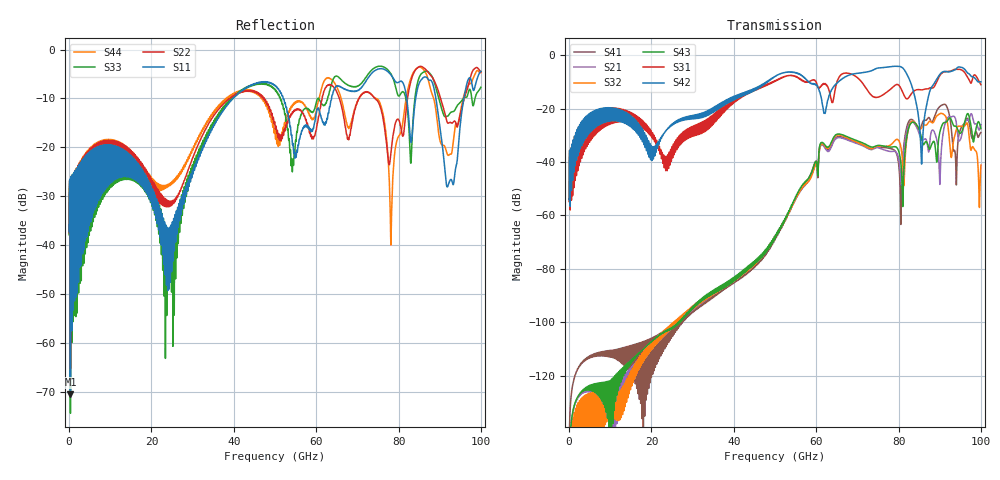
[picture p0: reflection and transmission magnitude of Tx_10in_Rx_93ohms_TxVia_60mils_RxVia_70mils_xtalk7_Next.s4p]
! Info: Touchstone file created by Circ.  Input file=Tx_10in_Rx_93ohms_TxVia_60mils_RxVia_70mils.circ
# Hz S RI R 50
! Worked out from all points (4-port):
!   10000 points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, 10 MHz to 100 GHz, reference 50 ohm
!   strongest paths, dB at 10 MHz, 25.01 GHz, 50.01 GHz, 75.01 GHz, 100 GHz:
!     S42: -54.1, -25.8, -7.9, -4.8, -10.0
!     S31: -54.8, -34.3, -9.6, -15.8, -11.1
!     S43: -154.6, -101.9, -68.7, -33.8, -27.5
!     S32: -170.4, -100.9, -68.5, -34.1, -41.1
!     S21: -167.2, -101.5, -68.3, -34.7, -26.0
!     S41: -150.4, -101.0, -69.2, -34.4, -29.0
!   lowest |S11| = -70.6 dB at 330 MHz (marker M1), VSWR 1.00, Z = 50 - j0.00547 ohm
!   |S11| at or under -10 dB: start of sweep to 39.83 GHz; 51.98 GHz to 63.74 GHz (11.76 GHz wide, 20.3 % of centre); 89.08 GHz to 95.86 GHz (6.789 GHz wide, 7.34 % of centre) (the widest 3 of 4)
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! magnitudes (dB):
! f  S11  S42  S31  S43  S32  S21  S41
! 10 MHz  -37.3  -54.1  -54.8  -154.6  -170.4  -167.2  -150.4
! 330 MHz  -70.6  -40.3  -40.3  -140.9  -144.1  -141.3  -130.9
! 44.44 GHz  -7.2  -13.5  -13.4  -77.9  -78.5  -79.0  -79.3
! 65.22 GHz  -7.4  -10.3  -9.3  -29.5  -29.9  -31.0  -30.6
! 78.19 GHz  -5.2  -4.3  -12.6  -34.4  -33.4  -36.1  -35.0
! 85.58 GHz  -6.1  -40.6  -13.0  -31.1  -27.4  -31.8  -26.3
! 100 GHz  -4.4  -10.0  -11.1  -27.5  -41.1  -26.0  -29.0
